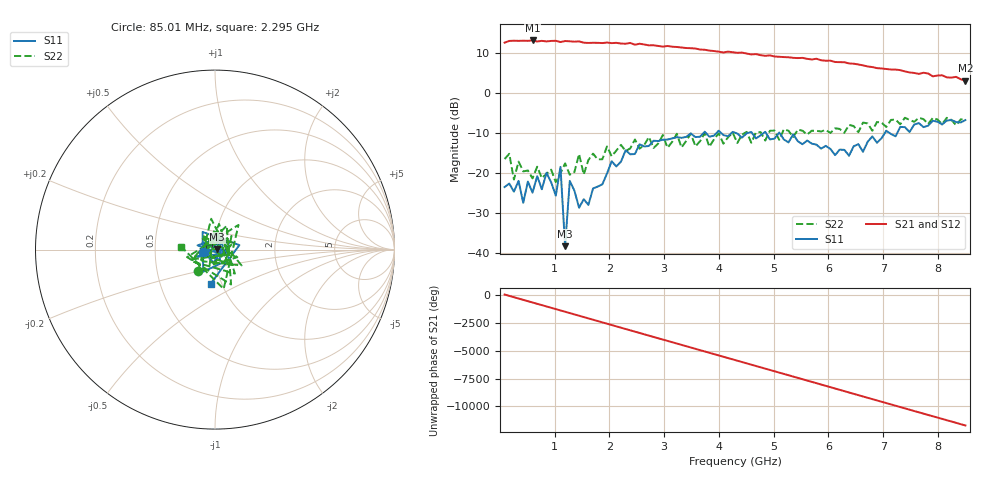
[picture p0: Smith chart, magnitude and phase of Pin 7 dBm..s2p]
! RsaToolbox (C) 2013 Rohde & Schwarz America
! Number of points: 101
! Number of ports: 2
! Balanced ports?: 0
# Hz S RI R 50
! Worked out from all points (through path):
!   100 points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, 85.01 MHz to 8.5 GHz, reference 50 ohm
!   highest |S21| = 13.15 dB at 595 MHz (marker M1); lowest = 3.1 dB at 8.5 GHz (marker M2)
!   lowest |S11| = -38.4 dB at 1.19 GHz (marker M3), VSWR 1.02, Z = 51.2 + j0.06 ohm
!   |S11| at or under -10 dB: start of sweep to 3.719 GHz; 4.301 GHz to 4.53 GHz (229.7 MHz wide, 5.2 % of centre); 5.105 GHz to 7.03 GHz (1.926 GHz wide, 31.7 % of centre) (the widest 3 of 8)
!   |S22| runs from -22.3 to -6.2 dB; largest |S21 - S12| = 0
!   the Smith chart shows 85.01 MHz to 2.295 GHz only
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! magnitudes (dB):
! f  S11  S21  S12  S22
! 85.01 MHz  -23.6  12.6  12.6  -16.5
! 170 MHz  -22.7  13.0  13.0  -15.2
! 255 MHz  -24.7  13.1  13.1  -21.7
! 340 MHz  -22.0  13.0  13.0  -17.2
! 425 MHz  -27.5  13.1  13.1  -19.6
! 510 MHz  -22.2  13.1  13.1  -19.4
! 595 MHz  -25.0  13.1  13.1  -21.4
! 850 MHz  -20.0  12.9  12.9  -20.3
! 1.02 GHz  -25.7  13.1  13.1  -22.3
! 1.105 GHz  -18.5  12.8  12.8  -20.1
! 1.19 GHz  -38.4  13.0  13.0  -17.6
! 1.275 GHz  -22.0  12.9  12.9  -20.5
! 1.445 GHz  -28.7  12.9  12.9  -15.3
! 1.53 GHz  -26.6  12.6  12.6  -20.4
! 1.955 GHz  -20.2  12.6  12.6  -13.4
! 2.295 GHz  -14.3  12.3  12.3  -14.5
! 2.89 GHz  -12.0  11.8  11.8  -12.6
! 4.335 GHz  -10.2  10.1  10.1  -12.5
! 5.695 GHz  -12.7  8.4  8.4  -9.5
! 6.375 GHz  -15.7  7.4  7.4  -8.0
! 7.14 GHz  -10.3  5.9  5.9  -6.7
! 8.5 GHz  -6.8  3.1  3.1  -6.7
